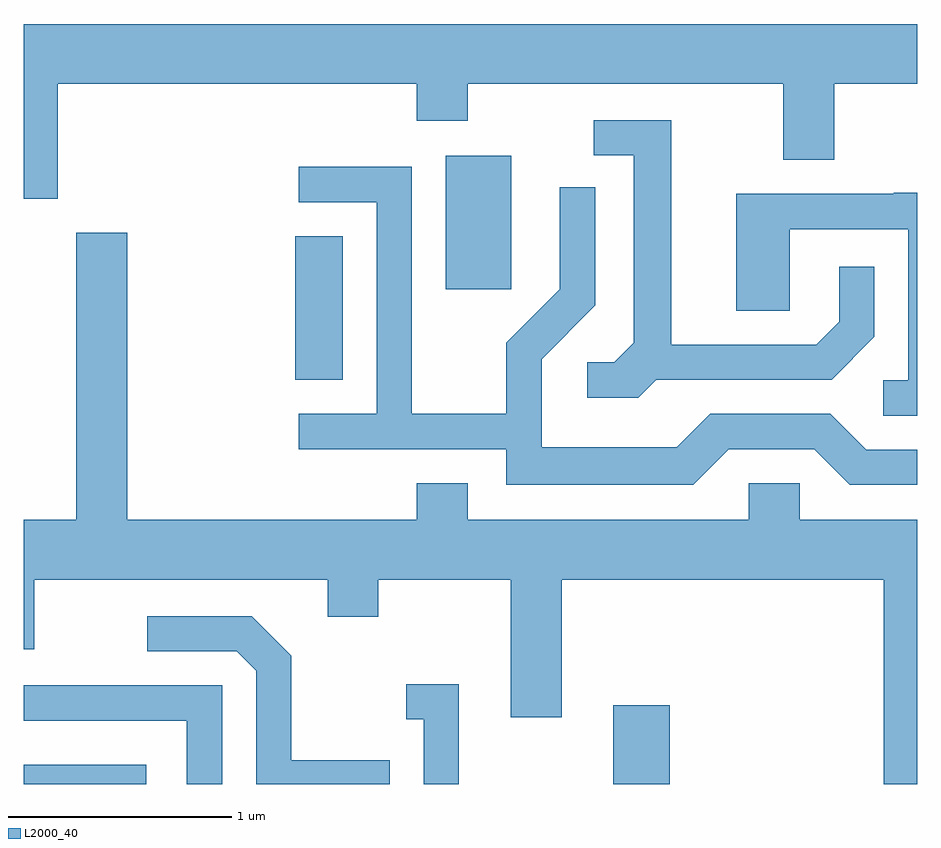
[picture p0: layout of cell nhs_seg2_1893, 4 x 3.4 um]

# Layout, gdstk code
import gdstk
lib = gdstk.Library(unit=1e-6, precision=1e-09)
def R(c, l, rs):  # rectangles x0, y0, x1, y1
    for r in rs: c.add(gdstk.rectangle(r[:2], r[2:], *l))
def P(c, l, *ps):  # polygons
    for p in ps: c.add(gdstk.Polygon(p, *l))
L2000_40 = (2000, 40)

nhs_seg2_1893 = lib.new_cell('nhs_seg2_1893')
R(nhs_seg2_1893, L2000_40, [(239.611,1091.802,240.159,1091.889), (242.251,1091.802,242.504,1092.154), (240.826,1093.611,241.039,1094.254), (241.501,1094.016,241.794,1094.614)])
P(nhs_seg2_1893, L2000_40, [(239.764,1094.936),(241.371,1094.936),(241.371,1094.771),(241.599,1094.771),(241.599,1094.936),(243.011,1094.936),(243.011,1094.596),(243.239,1094.596),(243.239,1094.936),(243.611,1094.936),(243.611,1095.204),(239.611,1095.204),(239.611,1094.421),(239.764,1094.421)],
  [(242.442,1093.611),(243.227,1093.611),(243.419,1093.804),(243.419,1094.118),(243.261,1094.118),(243.261,1093.872),(243.159,1093.769),(242.509,1093.769),(242.509,1094.774),(242.163,1094.774),(242.163,1094.616),(242.341,1094.616),(242.341,1093.777),(242.254,1093.689),(242.133,1093.689),(242.133,1093.531),(242.362,1093.531)],
  [(242.767,1093.301),(243.149,1093.301),(243.309,1093.141),(243.611,1093.141),(243.611,1093.299),(243.382,1093.299),(243.222,1093.459),(242.684,1093.459),(242.534,1093.309),(241.929,1093.309),(241.929,1093.704),(242.169,1093.944),(242.169,1094.473),(242.011,1094.473),(242.011,1094.017),(241.771,1093.777),(241.771,1093.459),(241.349,1093.459),(241.349,1094.564),(240.843,1094.564),(240.843,1094.406),(241.191,1094.406),(241.191,1093.459),(240.843,1093.459),(240.843,1093.301),(241.771,1093.301),(241.771,1093.141),(242.607,1093.141)],
  [(243.611,1094.449),(243.505,1094.449),(243.505,1094.444),(242.801,1094.444),(242.801,1093.921),(243.039,1093.921),(243.039,1094.286),(243.571,1094.286),(243.571,1093.609),(243.458,1093.609),(243.458,1093.451),(243.611,1093.451)],
  [(243.611,1092.984),(243.084,1092.984),(243.084,1093.149),(242.856,1093.149),(242.856,1092.984),(241.599,1092.984),(241.599,1093.149),(241.371,1093.149),(241.371,1092.984),(240.074,1092.984),(240.074,1094.269),(239.846,1094.269),(239.846,1092.984),(239.611,1092.984),(239.611,1092.406),(239.659,1092.406),(239.659,1092.716),(240.971,1092.716),(240.971,1092.551),(241.199,1092.551),(241.199,1092.716),(241.791,1092.716),(241.791,1092.101),(242.019,1092.101),(242.019,1092.716),(243.461,1092.716),(243.461,1091.802),(243.611,1091.802)],
  [(241.249,1091.909),(240.809,1091.909),(240.809,1092.377),(240.632,1092.554),(240.163,1092.554),(240.163,1092.396),(240.564,1092.396),(240.651,1092.309),(240.651,1091.802),(241.249,1091.802)],
  [(241.559,1092.249),(241.323,1092.249),(241.323,1092.091),(241.401,1092.091),(241.401,1091.802),(241.559,1091.802)],
  [(240.499,1092.244),(239.611,1092.244),(239.611,1092.086),(240.341,1092.086),(240.341,1091.802),(240.499,1091.802)])

lib.write_gds('nhs_seg2_1893.gds')
